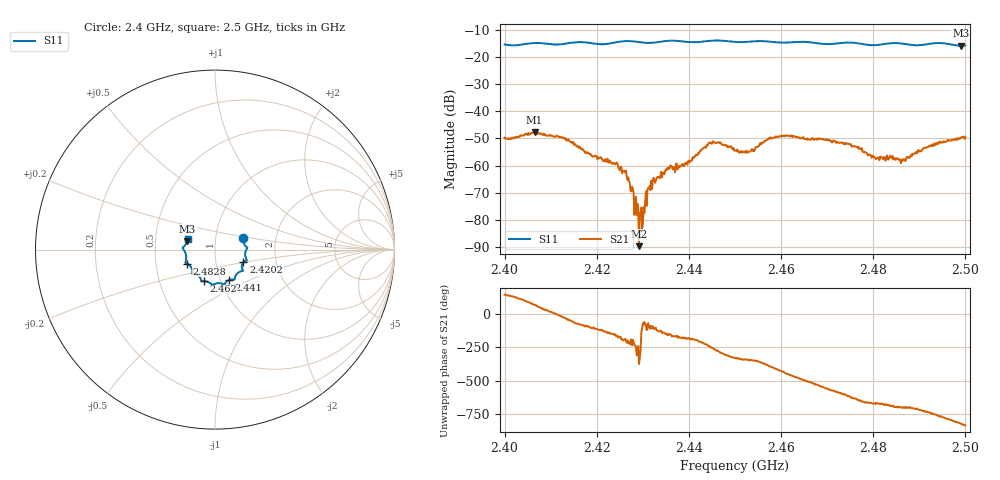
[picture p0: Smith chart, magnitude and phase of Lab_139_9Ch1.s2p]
# Hz S RI R 50
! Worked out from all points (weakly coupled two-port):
!   601 points, 2.4 GHz to 2.5 GHz, reference 50 ohm
!   highest |S21| = -47.81 dB at 2.4065 GHz (marker M1); lowest = -89.7 dB at 2.4292 GHz (marker M2)
!   lowest |S11| = -15.8 dB at 2.499 GHz (marker M3), VSWR 1.39, Z = 36.5 + j3.48 ohm
!   |S11| at or under -10 dB: start of sweep to end of sweep
!   S12 and S22 are empty: the file has one direction only
!   S11 on the Smith chart (normalised r, x): 2.4 GHz: 1.36, +0.18; 2.4202 GHz: 1.36, -0.20; 2.441 GHz: 1.10, -0.39; 2.462 GHz: 0.84, -0.30; 2.4828 GHz: 0.72, -0.12; 2.5 GHz: 0.73, +0.09
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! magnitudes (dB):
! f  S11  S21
! 2.4 GHz  -15.4  -49.7
! 2.4065 GHz  -14.9  -47.8
! 2.4127 GHz  -15.2  -49.7
! 2.4167 GHz  -14.5  -54.0
! 2.4202 GHz  -15.2  -57.6
! 2.4258 GHz  -14.2  -62.1
! 2.4292 GHz  -14.5  -89.7
! 2.4298 GHz  -14.7  -83.2
! 2.4315 GHz  -14.8  -67.5
! 2.4333 GHz  -14.5  -64.3
! 2.441 GHz  -14.6  -57.2
! 2.4448 GHz  -14.0  -51.9
! 2.45 GHz  -14.5  -54.4
! 2.4528 GHz  -14.4  -55.3
! 2.4572 GHz  -14.3  -50.2
! 2.462 GHz  -14.6  -49.3
! 2.4667 GHz  -14.6  -50.2
! 2.4828 GHz  -15.1  -56.8
! 2.4833 GHz  -15.0  -57.8
! 2.4865 GHz  -15.1  -57.6
! 2.499 GHz  -15.8  -50.0
! 2.5 GHz  -15.7  -49.6
